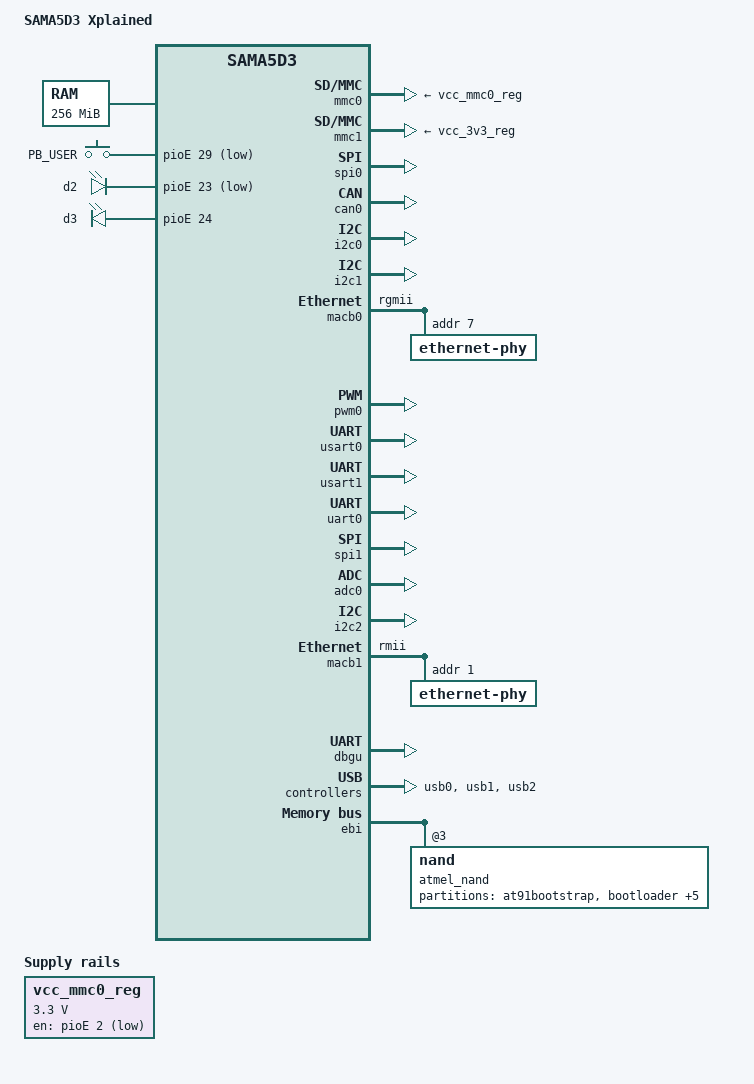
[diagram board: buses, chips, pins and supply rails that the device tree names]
// SPDX-License-Identifier: GPL-2.0-or-later
/*
 * at91-sama5d3_xplained.dts - Device Tree file for the SAMA5D3 Xplained board
 *
 *  Copyright (C) 2014 Atmel,
 *		  2014 Nicolas Ferre <nicolas.ferre@atmel.com>
 */
/dts-v1/;
#include "sama5d36.dtsi"

/ {
	model = "SAMA5D3 Xplained";
	compatible = "atmel,sama5d3-xplained", "atmel,sama5d3", "atmel,sama5";

	chosen {
		stdout-path = "serial0:115200n8";
	};

	memory {
		reg = <0x20000000 0x10000000>;
	};

	clocks {
		slow_xtal {
			clock-frequency = <32768>;
		};

		main_xtal {
			clock-frequency = <12000000>;
		};
	};

	ahb {
		apb {
			mmc0: mmc@f0000000 {
				pinctrl-0 = <&pinctrl_mmc0_clk_cmd_dat0 &pinctrl_mmc0_dat1_3 &pinctrl_mmc0_dat4_7 &pinctrl_mmc0_cd>;
				vmmc-supply = <&vcc_mmc0_reg>;
				vqmmc-supply = <&vcc_3v3_reg>;
				status = "okay";
				slot@0 {
					reg = <0>;
					bus-width = <8>;
					cd-gpios = <&pioE 0 GPIO_ACTIVE_LOW>;
				};
			};

			mmc1: mmc@f8000000 {
				vmmc-supply = <&vcc_3v3_reg>;
				vqmmc-supply = <&vcc_3v3_reg>;
				status = "disabled";
				slot@0 {
					reg = <0>;
					bus-width = <4>;
					cd-gpios = <&pioE 1 GPIO_ACTIVE_LOW>;
				};
			};

			spi0: spi@f0004000 {
				cs-gpios = <&pioD 13 0>, <0>, <0>, <&pioD 16 0>;
				status = "okay";
			};

			can0: can@f000c000 {
				status = "okay";
			};

			tcb0: timer@f0010000 {
				timer0: timer@0 {
					compatible = "atmel,tcb-timer";
					reg = <0>;
				};

				timer1: timer@1 {
					compatible = "atmel,tcb-timer";
					reg = <1>;
				};
			};

			i2c0: i2c@f0014000 {
				pinctrl-0 = <&pinctrl_i2c0_pu>;
				status = "okay";
			};

			i2c1: i2c@f0018000 {
				status = "okay";

				pmic: act8865@5b {
					compatible = "active-semi,act8865";
					reg = <0x5b>;
					status = "disabled";

					regulators {
						vcc_1v8_reg: DCDC_REG1 {
							regulator-name = "VCC_1V8";
							regulator-min-microvolt = <1800000>;
							regulator-max-microvolt = <1800000>;
							regulator-always-on;
						};

						vcc_1v2_reg: DCDC_REG2 {
							regulator-name = "VCC_1V2";
							regulator-min-microvolt = <1200000>;
							regulator-max-microvolt = <1200000>;
							regulator-always-on;
						};

						vcc_3v3_reg: DCDC_REG3 {
							regulator-name = "VCC_3V3";
							regulator-min-microvolt = <3300000>;
							regulator-max-microvolt = <3300000>;
							regulator-always-on;
						};

						vddfuse_reg: LDO_REG1 {
							regulator-name = "FUSE_2V5";
							regulator-min-microvolt = <2500000>;
							regulator-max-microvolt = <2500000>;
						};

						vddana_reg: LDO_REG2 {
							regulator-name = "VDDANA";
							regulator-min-microvolt = <3300000>;
							regulator-max-microvolt = <3300000>;
							regulator-always-on;
						};
					};
				};
			};

			macb0: ethernet@f0028000 {
				phy-mode = "rgmii";
				#address-cells = <1>;
				#size-cells = <0>;
				status = "okay";

				ethernet-phy@7 {
					reg = <0x7>;
				};
			};

			pwm0: pwm@f002c000 {
				pinctrl-names = "default";
				pinctrl-0 = <&pinctrl_pwm0_pwmh0_0 &pinctrl_pwm0_pwmh1_0>;
				status = "okay";
			};

			usart0: serial@f001c000 {
				status = "okay";
			};

			usart1: serial@f0020000 {
				pinctrl-0 = <&pinctrl_usart1 &pinctrl_usart1_rts_cts>;
				status = "okay";
			};

			uart0: serial@f0024000 {
				status = "okay";
			};

			mmc1: mmc@f8000000 {
				pinctrl-0 = <&pinctrl_mmc1_clk_cmd_dat0 &pinctrl_mmc1_dat1_3 &pinctrl_mmc1_cd>;
				status = "okay";
				slot@0 {
					reg = <0>;
					bus-width = <4>;
					cd-gpios = <&pioE 1 GPIO_ACTIVE_HIGH>;
				};
			};

			spi1: spi@f8008000 {
				cs-gpios = <&pioC 25 0>;
				status = "okay";
			};

			adc0: adc@f8018000 {
				atmel,adc-vref = <3300>;
				atmel,adc-channels-used = <0xfe>;
				pinctrl-0 = <
					&pinctrl_adc0_adtrg
					&pinctrl_adc0_ad1
					&pinctrl_adc0_ad2
					&pinctrl_adc0_ad3
					&pinctrl_adc0_ad4
					&pinctrl_adc0_ad5
					&pinctrl_adc0_ad6
					&pinctrl_adc0_ad7
					>;
				status = "okay";
			};

			i2c2: i2c@f801c000 {
				dmas = <0>, <0>;	/* Do not use DMA for i2c2 */
				pinctrl-0 = <&pinctrl_i2c2_pu>;
				status = "okay";
			};

			macb1: ethernet@f802c000 {
				phy-mode = "rmii";
				#address-cells = <1>;
				#size-cells = <0>;
				status = "okay";

				ethernet-phy@1 {
					reg = <0x1>;
				};
			};

			dbgu: serial@ffffee00 {
				status = "okay";
			};

			pinctrl@fffff200 {
				board {
					pinctrl_i2c0_pu: i2c0_pu {
						atmel,pins =
							<AT91_PIOA 30 AT91_PERIPH_A AT91_PINCTRL_PULL_UP>,
							<AT91_PIOA 31 AT91_PERIPH_A AT91_PINCTRL_PULL_UP>;
					};

					pinctrl_i2c2_pu: i2c2_pu {
						atmel,pins =
							<AT91_PIOA 18 AT91_PERIPH_B AT91_PINCTRL_PULL_UP>,
							<AT91_PIOA 19 AT91_PERIPH_B AT91_PINCTRL_PULL_UP>;
					};

					pinctrl_key_gpio: key_gpio_0 {
						atmel,pins =
							<AT91_PIOE 29 AT91_PERIPH_GPIO AT91_PINCTRL_PULL_UP_DEGLITCH>;
					};

					pinctrl_mmc0_cd: mmc0_cd {
						atmel,pins =
							<AT91_PIOE 0 AT91_PERIPH_GPIO AT91_PINCTRL_PULL_UP_DEGLITCH>;
					};

					pinctrl_mmc1_cd: mmc1_cd {
						atmel,pins =
							<AT91_PIOE 1 AT91_PERIPH_GPIO AT91_PINCTRL_PULL_UP_DEGLITCH>;
					};

					pinctrl_usba_vbus: usba_vbus {
						atmel,pins =
							<AT91_PIOE 9 AT91_PERIPH_GPIO AT91_PINCTRL_DEGLITCH>;	/* PE9, conflicts with A9 */
					};
				};
			};
		};

		usb0: gadget@500000 {
			atmel,vbus-gpio = <&pioE 9 GPIO_ACTIVE_HIGH>;	/* PE9, conflicts with A9 */
			pinctrl-names = "default";
			pinctrl-0 = <&pinctrl_usba_vbus>;
			status = "okay";
		};

		usb1: ohci@600000 {
			num-ports = <3>;
			atmel,vbus-gpio = <0
					   &pioE 3 GPIO_ACTIVE_LOW
					   &pioE 4 GPIO_ACTIVE_LOW
					  >;
			status = "okay";
		};

		usb2: ehci@700000 {
			status = "okay";
		};

		ebi: ebi@10000000 {
			pinctrl-0 = <&pinctrl_ebi_nand_addr>;
			pinctrl-names = "default";
			status = "okay";

			nand_controller: nand-controller {
				status = "okay";

				nand@3 {
					reg = <0x3 0x0 0x2>;
					atmel,rb = <0>;
					nand-bus-width = <8>;
					nand-ecc-mode = "hw";
					nand-ecc-strength = <4>;
					nand-ecc-step-size = <512>;
					nand-on-flash-bbt;
					label = "atmel_nand";

					partitions {
						compatible = "fixed-partitions";
						#address-cells = <1>;
						#size-cells = <1>;

						at91bootstrap@0 {
							label = "at91bootstrap";
							reg = <0x0 0x40000>;
						};

						bootloader@40000 {
							label = "bootloader";
							reg = <0x40000 0xc0000>;
						};

						bootloaderenvred@100000 {
							label = "bootloader env redundant";
							reg = <0x100000 0x40000>;
						};

						bootloaderenv@140000 {
							label = "bootloader env";
							reg = <0x140000 0x40000>;
						};

						dtb@180000 {
							label = "device tree";
							reg = <0x180000 0x80000>;
						};

						kernel@200000 {
							label = "kernel";
							reg = <0x200000 0x600000>;
						};

						rootfs@800000 {
							label = "rootfs";
							reg = <0x800000 0x0f800000>;
						};
					};
				};
			};
		};
	};

	vcc_mmc0_reg: fixedregulator_mmc0 {
		compatible = "regulator-fixed";
		gpio = <&pioE 2 GPIO_ACTIVE_LOW>;
		regulator-name = "mmc0-card-supply";
		regulator-min-microvolt = <3300000>;
		regulator-max-microvolt = <3300000>;
		regulator-always-on;
	};

	gpio_keys {
		compatible = "gpio-keys";

		pinctrl-names = "default";
		pinctrl-0 = <&pinctrl_key_gpio>;

		bp3 {
			label = "PB_USER";
			gpios = <&pioE 29 GPIO_ACTIVE_LOW>;
			linux,code = <0x104>;
			wakeup-source;
		};
	};

	leds {
		compatible = "gpio-leds";

		d2 {
			label = "d2";
			gpios = <&pioE 23 GPIO_ACTIVE_LOW>;	/* PE23, conflicts with A23, CTS2 */
			linux,default-trigger = "heartbeat";
		};

		d3 {
			label = "d3";
			gpios = <&pioE 24 GPIO_ACTIVE_HIGH>;
		};
	};
};
